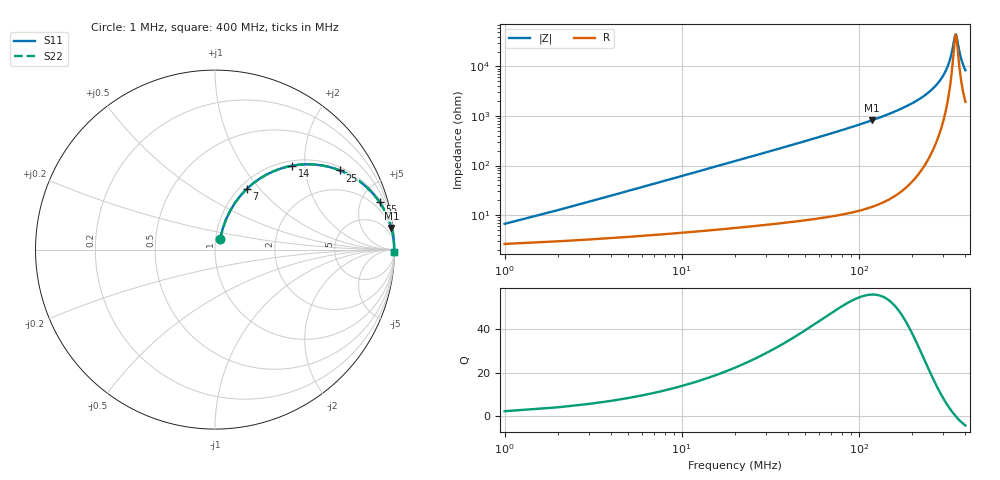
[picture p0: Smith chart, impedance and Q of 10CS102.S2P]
! Coilcraft 1008CS-102 Chip Inductor
! 02 July 2002
# MHZ S MA R 50
!Freq  MagS11  AngS11  MagS21  AngS21  MagS12  AngS12  MagS22  AngS22
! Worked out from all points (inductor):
!   400 points, 1 MHz to 400 MHz, reference 50 ohm
!   read as one part in series: L = 975 nH near 3 MHz
!   highest Q = 56 at 118 MHz (marker M1), where L = 1.1 uH
!   self-resonance near 352 MHz
!   S11 on the Smith chart (normalised r, x): 1 MHz: 1.05, +0.12; 7 MHz: 1.08, +0.86; 14 MHz: 1.10, +1.72; 25 MHz: 1.12, +3.08; 55 MHz: 1.16, +6.91; 400 MHz: open
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1  0.06481 63.4  0.9727 -3.4  0.9727 -3.4  0.06481 63.4
2  0.1216 69.6  0.9644 -6.8  0.9644 -6.8  0.1216 69.6
3  0.178 70.0  0.9538 -10.1  0.9538 -10.1  0.178 70.0
5  0.2855 66.8  0.9253 -16.5  0.9253 -16.5  0.2855 66.8
7  0.383 62.3  0.8891 -22.4  0.8891 -22.4  0.383 62.3
10  0.5077 55.5  0.826 -30.4  0.826 -30.4  0.5077 55.5
14  0.6347 47.4  0.7376 -39.3  0.7376 -39.3  0.6347 47.4
25  0.8244 32.3  0.5352 -55.5  0.5352 -55.5  0.8244 32.3
37  0.9067 23.3  0.3954 -65.0  0.3954 -65.0  0.9067 23.3
55  0.9545 16.0  0.2763 -72.6  0.2763 -72.6  0.9545 16.0
68  0.9698 12.9  0.2241 -75.8  0.2241 -75.8  0.9698 12.9
118  0.9904 7.0  0.1217 -82.0  0.1217 -82.0  0.9904 7.0
134  0.9928 5.9  0.1035 -83.0  0.1035 -83.0  0.9928 5.9
201  0.9971 3.1  0.05468 -85.4  0.05468 -85.4  0.9971 3.1
267  0.998 1.5  0.0261 -85.0  0.0261 -85.0  0.998 1.5
308  0.998 0.7  0.01272 -80.8  0.01272 -80.8  0.998 0.7
322  0.998 0.5  0.00868 -76.3  0.00868 -76.3  0.998 0.5
334  0.9979 0.3  0.005478 -67.4  0.005478 -67.4  0.9979 0.3
348  0.9978 0.1  0.002552 -30.0  0.002552 -30.0  0.9978 0.1
353  0.9977 -0.0  0.002255 0.9  0.002255 0.9  0.9977 -0.0
377  0.9975 -0.3  0.006587 67.4  0.006587 67.4  0.9975 -0.3
400  0.9972 -0.7  0.01189 76.0  0.01189 76.0  0.9972 -0.7
